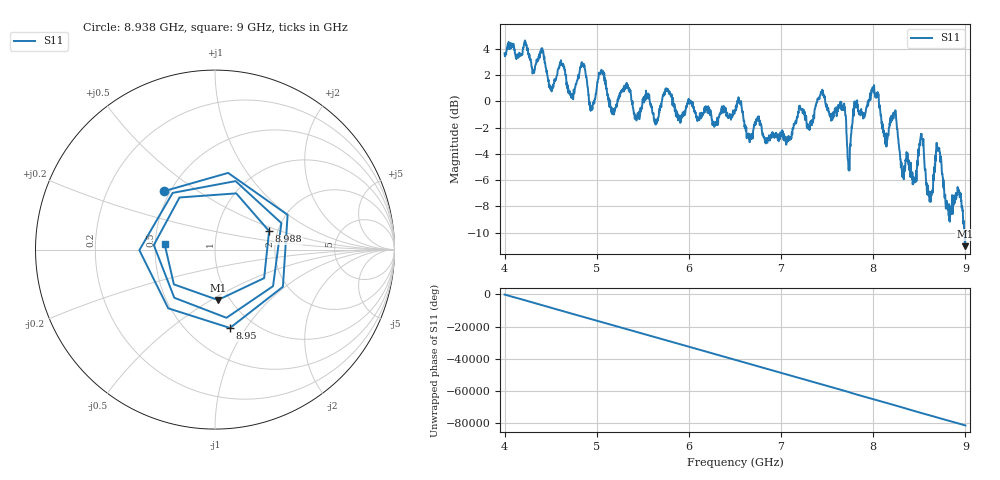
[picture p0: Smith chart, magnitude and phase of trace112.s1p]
! Created with skrf 1.8.0 (http://scikit-rf.org).
# Hz S RI R 50.0
!freq ReS11 ImS11
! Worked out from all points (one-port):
!   1601 points, 4 GHz to 9 GHz, reference 50 ohm
!   lowest |S11| = -11.0 dB at 8.994 GHz (marker M1), VSWR 1.78, Z = 44 - j26.8 ohm
!   |S11| at or under -10 dB: 8.99102 GHz to end of sweep
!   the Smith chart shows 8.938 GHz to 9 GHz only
!   S11 on the Smith chart (normalised r, x): 8.938 GHz: 0.47, +0.37; 8.95 GHz: 0.78, -0.85; 8.988 GHz: 1.80, +0.41; 9 GHz: 0.56, +0.04
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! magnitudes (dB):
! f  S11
! 4 GHz  3.7
! 4.406 GHz  3.9
! 4.506 GHz  0.8
! 4.625 GHz  2.8
! 4.722 GHz  0.3
! 4.853 GHz  2.7
! 4.941 GHz  -0.4
! 5.047 GHz  2.2
! 5.25 GHz  0.6
! 5.875 GHz  -1.2
! 6.5 GHz  -0.8
! 7.125 GHz  -2.0
! 7.447 GHz  0.9
! 7.669 GHz  -0.4
! 7.75 GHz  -3.3
! 7.806 GHz  0.0
! 8 GHz  0.9
! 8.375 GHz  -4.1
! 8.447 GHz  -6.1
! 8.525 GHz  -2.5
! 8.622 GHz  -7.7
! 8.706 GHz  -3.6
! 8.812 GHz  -8.3
! 8.938 GHz  -7.3
! 8.95 GHz  -7.0
! 8.988 GHz  -9.9
! 8.994 GHz  -11.0
! 9 GHz  -11.0
